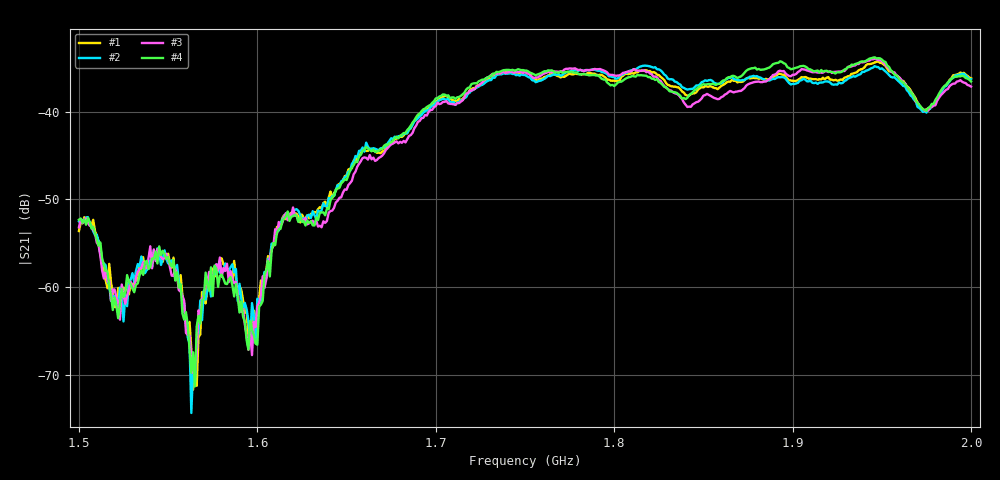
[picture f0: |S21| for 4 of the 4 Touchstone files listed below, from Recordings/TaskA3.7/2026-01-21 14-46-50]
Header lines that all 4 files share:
! NanoVNA-App by SYSJOINT et al v1.1.209 (+OD18)
! Start: 1,5GHz Stop: 2GHz Points: 501
! S-Parameter data: F S11 S21 S12 S22
# Hz S RI R 50
!  Frequency  S11_Real  S11_Imag  S21_Real  S21_Imag  S12_Real  S12_Imag  S22_Real  S22_Imag
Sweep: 1.5 GHz to 2 GHz
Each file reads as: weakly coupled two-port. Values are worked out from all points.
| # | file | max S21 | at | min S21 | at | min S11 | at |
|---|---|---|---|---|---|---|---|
| 1 | 0.s2p | -34.29 dB | 1.948 GHz | -71.7 dB | 1.564 GHz | -31.1 dB | 1.817 GHz |
| 2 | 1.s2p | -34.75 dB | 1.817 GHz | -74.4 dB | 1.563 GHz | -30.3 dB | 1.817 GHz |
| 3 | 2.s2p | -33.96 dB | 1.946 GHz | -70.0 dB | 1.565 GHz | -30.3 dB | 1.817 GHz |
| 4 | 3.s2p | -33.80 dB | 1.946 GHz | -71.4 dB | 1.565 GHz | -30.6 dB | 1.817 GHz |
